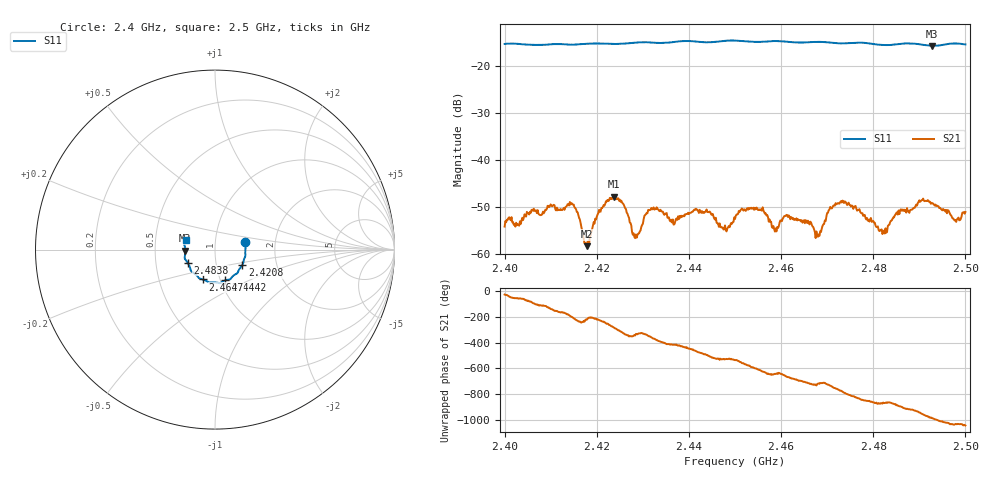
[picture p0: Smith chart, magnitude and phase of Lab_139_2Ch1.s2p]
# Hz S RI R 50
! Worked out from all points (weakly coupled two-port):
!   601 points, 2.4 GHz to 2.5 GHz, reference 50 ohm
!   highest |S21| = -47.80 dB at 2.4237 GHz (marker M1); lowest = -58.3 dB at 2.4178 GHz (marker M2)
!   lowest |S11| = -15.6 dB at 2.4928 GHz (marker M3), VSWR 1.40, Z = 35.8 - j0.388 ohm
!   |S11| at or under -10 dB: start of sweep to end of sweep
!   S12 and S22 are empty: the file has one direction only
!   S11 on the Smith chart (normalised r, x): 2.4 GHz: 1.40, +0.12; 2.4208 GHz: 1.33, -0.24; 2.4442 GHz: 1.05, -0.37; 2.4647 GHz: 0.83, -0.29; 2.4838 GHz: 0.73, -0.11; 2.5 GHz: 0.72, +0.08
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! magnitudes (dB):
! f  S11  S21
! 2.4 GHz  -15.2  -54.2
! 2.4142 GHz  -15.4  -48.9
! 2.4167 GHz  -15.3  -54.3
! 2.4178 GHz  -15.2  -58.3
! 2.4208 GHz  -15.1  -51.0
! 2.4237 GHz  -15.2  -47.8
! 2.4258 GHz  -15.2  -49.4
! 2.4283 GHz  -14.9  -56.6
! 2.4333 GHz  -15.0  -50.5
! 2.4365 GHz  -14.8  -52.6
! 2.4442 GHz  -14.9  -51.0
! 2.4478 GHz  -14.6  -53.9
! 2.45 GHz  -14.5  -52.5
! 2.4543 GHz  -14.8  -50.2
! 2.4647 GHz  -14.9  -53.3
! 2.4667 GHz  -14.8  -53.8
! 2.468 GHz  -14.8  -56.3
! 2.4735 GHz  -15.1  -48.7
! 2.4833 GHz  -15.5  -53.8
! 2.4838 GHz  -15.4  -52.9
! 2.4928 GHz  -15.6  -49.2
! 2.5 GHz  -15.3  -51.0
